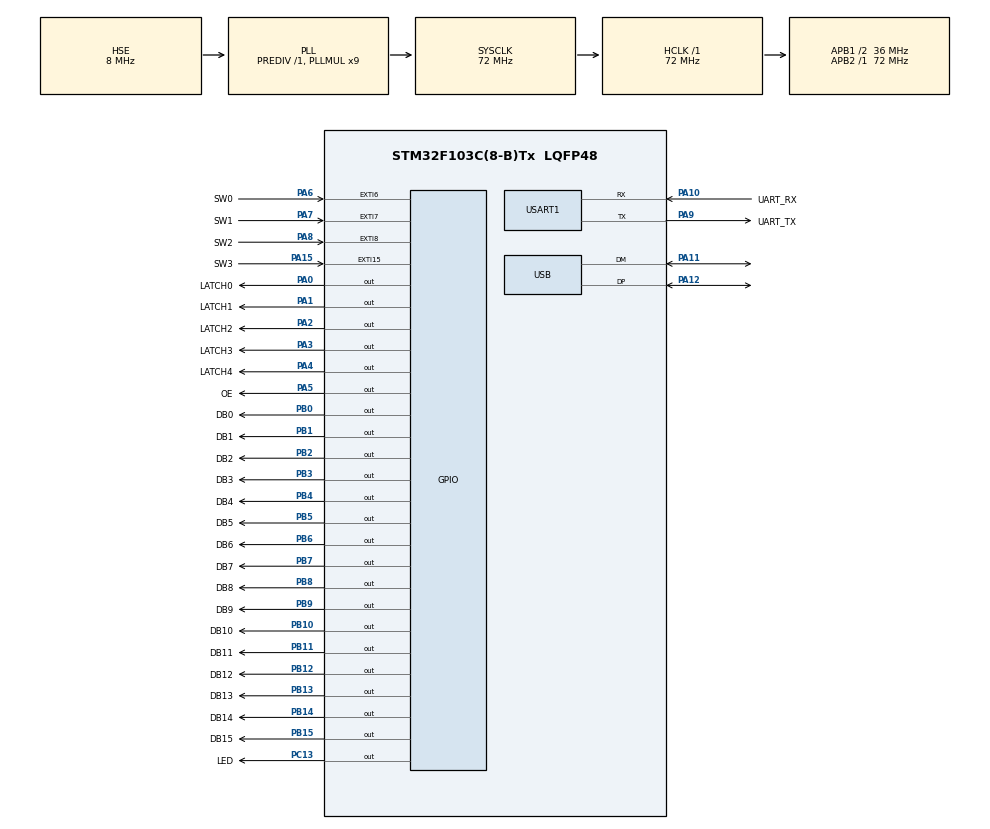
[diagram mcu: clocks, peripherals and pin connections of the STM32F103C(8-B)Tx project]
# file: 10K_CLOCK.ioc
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Mcu.Family=STM32F1
Mcu.Name=STM32F103C(8-B)Tx
Mcu.Package=LQFP48
NVIC.EXTI15_10_IRQn=true\:0\:0\:false\:true\:true\:1\:true\:true
NVIC.EXTI9_5_IRQn=true\:0\:0\:false\:true\:true\:2\:true\:true
NVIC.PVD_IRQn=true\:0\:0\:false\:false\:true\:true\:true
NVIC.PriorityGroup=NVIC_PRIORITYGROUP_4
NVIC.RCC_IRQn=true\:0\:0\:false\:false\:true\:true\:false
NVIC.RTC_IRQn=true\:0\:0\:false\:false\:true\:true\:true
NVIC.TIM2_IRQn=true\:0\:0\:false\:false\:true\:true\:true
NVIC.USART1_IRQn=true\:0\:0\:false\:true\:true\:3\:true\:true
PA0-WKUP.GPIO_Label=LATCH0
PA0-WKUP.Signal=GPIO_Output
PA1.GPIO_Label=LATCH1
PA1.Signal=GPIO_Output
PA10.GPIO_Label=UART_RX
PA10.GPIO_PuPd=GPIO_PULLUP
PA10.Mode=Asynchronous
PA10.Signal=USART1_RX
PA11.Mode=Device
PA11.Signal=USB_DM
PA12.Mode=Device
PA12.Signal=USB_DP
PA13.Mode=Serial_Wire
PA13.Signal=SYS_JTMS-SWDIO
PA14.Mode=Serial_Wire
PA14.Signal=SYS_JTCK-SWCLK
PA15.GPIO_Label=SW3
PA15.GPIO_ModeDefaultEXTI=GPIO_MODE_IT_FALLING
PA15.GPIO_PuPd=GPIO_PULLUP
PA15.Signal=GPXTI15
PA2.GPIO_Label=LATCH2
PA2.Signal=GPIO_Output
PA3.GPIO_Label=LATCH3
PA3.Signal=GPIO_Output
PA4.GPIO_Label=LATCH4
PA4.Signal=GPIO_Output
PA5.GPIO_Label=OE
PA5.Signal=GPIO_Output
PA6.GPIO_Label=SW0
PA6.GPIO_PuPd=GPIO_PULLUP
PA6.Signal=GPXTI6
PA7.GPIO_Label=SW1
PA7.GPIO_PuPd=GPIO_PULLUP
PA7.Signal=GPXTI7
PA8.GPIO_Label=SW2
PA8.GPIO_ModeDefaultEXTI=GPIO_MODE_IT_FALLING
PA8.GPIO_PuPd=GPIO_PULLUP
PA8.Signal=GPXTI8
PA9.GPIO_Label=UART_TX
PA9.Mode=Asynchronous
PA9.Signal=USART1_TX
PB0.GPIO_Label=DB0
PB0.GPIO_ModeDefaultOutputPP=GPIO_MODE_OUTPUT_PP
PB0.GPIO_PuPd=GPIO_NOPULL
PB0.Signal=GPIO_Output
PB1.GPIO_Label=DB1
PB1.GPIO_ModeDefaultOutputPP=GPIO_MODE_OUTPUT_PP
PB1.GPIO_PuPd=GPIO_NOPULL
PB1.Signal=GPIO_Output
PB10.GPIO_Label=DB10
PB10.Signal=GPIO_Output
PB11.GPIO_Label=DB11
PB11.Signal=GPIO_Output
PB12.GPIO_Label=DB12
PB12.Signal=GPIO_Output
PB13.GPIO_Label=DB13
PB13.Signal=GPIO_Output
PB14.GPIO_Label=DB14
PB14.Signal=GPIO_Output
PB15.GPIO_Label=DB15
PB15.Signal=GPIO_Output
PB2.GPIO_Label=DB2
PB2.GPIO_PuPd=GPIO_NOPULL
PB2.Signal=GPIO_Output
PB3.GPIO_Label=DB3
PB3.Signal=GPIO_Output
PB4.GPIO_Label=DB4
PB4.Signal=GPIO_Output
PB5.GPIO_Label=DB5
PB5.Signal=GPIO_Output
PB6.GPIO_Label=DB6
PB6.Signal=GPIO_Output
PB7.GPIO_Label=DB7
PB7.Signal=GPIO_Output
PB8.GPIO_Label=DB8
PB8.Signal=GPIO_Output
PB9.GPIO_Label=DB9
PB9.Signal=GPIO_Output
PC13-TAMPER-RTC.GPIO_Label=LED
PC13-TAMPER-RTC.Signal=GPIO_Output
PD0-OSC_IN.Mode=HSE-External-Oscillator
PD0-OSC_IN.Signal=RCC_OSC_IN
PD1-OSC_OUT.Mode=HSE-External-Oscillator
PD1-OSC_OUT.Signal=RCC_OSC_OUT
ProjectManager.HeapSize=0x200
ProjectManager.StackSize=0x400
ProjectManager.TargetToolchain=STM32CubeIDE
RCC.AHBFreq_Value=72000000
RCC.APB1CLKDivider=RCC_HCLK_DIV2
RCC.APB1Freq_Value=36000000
RCC.APB1TimFreq_Value=72000000
RCC.APB2Freq_Value=72000000
RCC.APB2TimFreq_Value=72000000
RCC.HCLKFreq_Value=72000000
RCC.PLLMUL=RCC_PLL_MUL9
RCC.SYSCLKFreq_VALUE=72000000
RCC.SYSCLKSource=RCC_SYSCLKSOURCE_PLLCLK
RCC.USBFreq_Value=48000000
RCC.USBPrescaler=RCC_USBCLKSOURCE_PLL_DIV1_5
RTC.Format=RTC_FORMAT_BIN
TIM2.AutoReloadPreload=TIM_AUTORELOAD_PRELOAD_ENABLE
TIM2.Period=720-1
TIM2.Prescaler=10-1
USART1.VirtualMode=VM_ASYNC
VP_RTC_No_RTC_Output.Mode=RTC_OUT_NO
VP_RTC_VS_RTC_Activate.Mode=RTC_Enabled
VP_RTC_VS_RTC_Calendar.Mode=RTC_Calendar
VP_TIM2_VS_ClockSourceINT.Mode=Internal
board=custom

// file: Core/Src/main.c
/* USER CODE BEGIN Header */
/**
  ******************************************************************************
  * @file           : main.c
  * @brief          : Main program body
  *****************************************************************************
  * @attention
  *
  * <h2><center>&copy; Copyright (c) 2022 STMicroelectronics.
  * All rights reserved.</center></h2>
  *
  * This software component is licensed by ST under BSD 3-Clause license,
  * the "License"; You may not use this file except in compliance with the
  * License. You may obtain a copy of the License at:
  *                        opensource.org/licenses/BSD-3-Clause
  *
  ******************************************************************************
  */
/* USER CODE END Header */
#include "main.h"

RTC_HandleTypeDef hrtc;

TIM_HandleTypeDef htim2;

UART_HandleTypeDef huart1;

PCD_HandleTypeDef hpcd_USB_FS;

/* USER CODE BEGIN PV */
int num[5] = {10,30,25,00,00};
uint8_t rx1_data[8];
char new_rx = 0;
uint8_t uart_Time[8];
char now_see = 0;
/* USER CODE END PV */

void SystemClock_Config(void);
static void MX_GPIO_Init(void);
static void MX_USART1_UART_Init(void);
static void MX_USB_PCD_Init(void);
static void MX_TIM2_Init(void);
static void MX_RTC_Init(void);
static void MX_NVIC_Init(void);

int main(void)
{
  /* USER CODE BEGIN 1 */
	//const int Segment[10] = {0x3, 0x9F, 0x25, 0xD, 0x99, 0x49, 0x41, 0x1F, 0x1, 0x9 };
	//int output = 0;

  /* USER CODE END 1 */

  /* MCU Configuration--------------------------------------------------------*/

  /* Reset of all peripherals, Initializes the Flash interface and the Systick. */
  HAL_Init();

  /* Configure the system clock */
  SystemClock_Config();

  /* Initialize all configured peripherals */
  MX_GPIO_Init();
  MX_USART1_UART_Init();
  MX_USB_PCD_Init();
  MX_TIM2_Init();
  MX_RTC_Init();

  /* Initialize interrupts */
  MX_NVIC_Init();
  /* USER CODE BEGIN 2 */
  HAL_TIM_Base_Start_IT(&htim2);//타이머 활성화
  HAL_GPIO_WritePin(OE_GPIO_Port, OE_Pin, RESET);//LOW출력
  HAL_GPIO_WritePin(LATCH0_GPIO_Port, LATCH0_Pin, RESET);//HIGH 출력
  HAL_GPIO_WritePin(LATCH0_GPIO_Port, LATCH1_Pin, RESET);
  HAL_GPIO_WritePin(LATCH0_GPIO_Port, LATCH2_Pin, RESET);
  HAL_GPIO_WritePin(LATCH0_GPIO_Port, LATCH3_Pin, RESET);
  HAL_GPIO_WritePin(LATCH0_GPIO_Port, LATCH4_Pin, RESET);

  HAL_UART_Receive_IT(&huart1, &rx1_data, 8);
  /* USER CODE END 2 */

  /* Infinite loop */
  /* USER CODE BEGIN WHILE */

  while (1)
  {
	  if (rx1_data[7] == 'E'){
		  for(int i  = 0; i < 8; i++){
			  uart_Time[i] = rx1_data[i]-48;
			  rx1_data[i] = 0;
		  }

		  num[0] = uart_Time[1]*10+uart_Time[2];
		  num[1] = uart_Time[3]*10+uart_Time[4];
		  num[2] = uart_Time[5]*10+uart_Time[6];
		  num[4] = 0;
		  num[5] = 0;

	  }

	  if (num[0] > 23){
		  num[0] = 0;
	  }

	  if (num[1] == 60){
		  num[1] = 0;
		  num[0]++;
	  }
	  if (num[2] == 60){
		  num[2] = 0;
		  num[1]++;
	  }
	  if(num[4] == 100){

		  num[4] = 0;
		  num[3]++;
	  }
	  if(num[3] == 100){
		  num[3] = 0;
		  num[2]++;
	  }

	  int Segment[10] = { 0xC0, 0xF9, 0xA4 ,0xB0, 0x99, 0x92, 0x82, 0xD8, 0x80, 0x90}; //16진수 -> segmen 정보
	  int testPCB_Latch_Adrr[5] = {LATCH0_Pin, LATCH1_Pin, LATCH2_Pin, LATCH3_Pin, LATCH4_Pin}; //테스트 pcb 래치 핀 주소

	  for(int i = 0; i < 5; i++){
		  HAL_GPIO_WritePin(GPIOB, Segment[num[i]/10]+(Segment[num[i]%10]<<8), SET);

		  HAL_GPIO_WritePin(GPIOB, ~(Segment[num[i]/10]+(Segment[num[i]%10]<<8)), RESET);
		  HAL_GPIO_WritePin(GPIOB, ~(Segment[num[i]/10]+(Segment[num[i]%10]<<8)), RESET);

		  HAL_GPIO_WritePin(OE_GPIO_Port, testPCB_Latch_Adrr[i], SET);
		  HAL_GPIO_WritePin(OE_GPIO_Port, testPCB_Latch_Adrr[i], SET);

		  HAL_GPIO_WritePin(OE_GPIO_Port, testPCB_Latch_Adrr[i], RESET);
		  HAL_GPIO_WritePin(OE_GPIO_Port, testPCB_Latch_Adrr[i], RESET);

	  }

    /* USER CODE END WHILE */

  }
}

void SystemClock_Config(void)
{
  RCC_OscInitTypeDef RCC_OscInitStruct = {0};
  RCC_ClkInitTypeDef RCC_ClkInitStruct = {0};
  RCC_PeriphCLKInitTypeDef PeriphClkInit = {0};

  /** Initializes the RCC Oscillators according to the specified parameters
  * in the RCC_OscInitTypeDef structure.
  */
  RCC_OscInitStruct.OscillatorType = RCC_OSCILLATORTYPE_LSI|RCC_OSCILLATORTYPE_HSE;
  RCC_OscInitStruct.HSEState = RCC_HSE_ON;
  RCC_OscInitStruct.HSEPredivValue = RCC_HSE_PREDIV_DIV1;
  RCC_OscInitStruct.HSIState = RCC_HSI_ON;
  RCC_OscInitStruct.LSIState = RCC_LSI_ON;
  RCC_OscInitStruct.PLL.PLLState = RCC_PLL_ON;
  RCC_OscInitStruct.PLL.PLLSource = RCC_PLLSOURCE_HSE;
  RCC_OscInitStruct.PLL.PLLMUL = RCC_PLL_MUL9;
  if (HAL_RCC_OscConfig(&RCC_OscInitStruct) != HAL_OK)
  {
    Error_Handler();
  }
  /** Initializes the CPU, AHB and APB buses clocks
  */
  RCC_ClkInitStruct.ClockType = RCC_CLOCKTYPE_HCLK|RCC_CLOCKTYPE_SYSCLK
                              |RCC_CLOCKTYPE_PCLK1|RCC_CLOCKTYPE_PCLK2;
  RCC_ClkInitStruct.SYSCLKSource = RCC_SYSCLKSOURCE_PLLCLK;
  RCC_ClkInitStruct.AHBCLKDivider = RCC_SYSCLK_DIV1;
  RCC_ClkInitStruct.APB1CLKDivider = RCC_HCLK_DIV2;
  RCC_ClkInitStruct.APB2CLKDivider = RCC_HCLK_DIV1;

  if (HAL_RCC_ClockConfig(&RCC_ClkInitStruct, FLASH_LATENCY_2) != HAL_OK)
  {
    Error_Handler();
  }
  PeriphClkInit.PeriphClockSelection = RCC_PERIPHCLK_RTC|RCC_PERIPHCLK_USB;
  PeriphClkInit.RTCClockSelection = RCC_RTCCLKSOURCE_LSI;
  PeriphClkInit.UsbClockSelection = RCC_USBCLKSOURCE_PLL_DIV1_5;
  if (HAL_RCCEx_PeriphCLKConfig(&PeriphClkInit) != HAL_OK)
  {
    Error_Handler();
  }
}

/**
  * @brief NVIC Configuration.
  * @retval None
  */
static void MX_NVIC_Init(void)
{
  /* EXTI15_10_IRQn interrupt configuration */
  HAL_NVIC_SetPriority(EXTI15_10_IRQn, 0, 0);
  HAL_NVIC_EnableIRQ(EXTI15_10_IRQn);
  /* EXTI9_5_IRQn interrupt configuration */
  HAL_NVIC_SetPriority(EXTI9_5_IRQn, 0, 0);
  HAL_NVIC_EnableIRQ(EXTI9_5_IRQn);
  /* USART1_IRQn interrupt configuration */
  HAL_NVIC_SetPriority(USART1_IRQn, 0, 0);
  HAL_NVIC_EnableIRQ(USART1_IRQn);
}

static void MX_RTC_Init(void)
{

  RTC_TimeTypeDef sTime = {0};
  RTC_DateTypeDef DateToUpdate = {0};

  /** Initialize RTC Only
  */
  hrtc.Instance = RTC;
  hrtc.Init.AsynchPrediv = RTC_AUTO_1_SECOND;
  hrtc.Init.OutPut = RTC_OUTPUTSOURCE_NONE;
  if (HAL_RTC_Init(&hrtc) != HAL_OK)
  {
    Error_Handler();
  }

  /** Initialize RTC and set the Time and Date
  */
  sTime.Hours = 0;
  sTime.Minutes = 0;
  sTime.Seconds = 0;

  if (HAL_RTC_SetTime(&hrtc, &sTime, RTC_FORMAT_BIN) != HAL_OK)
  {
    Error_Handler();
  }
  DateToUpdate.WeekDay = RTC_WEEKDAY_MONDAY;
  DateToUpdate.Month = RTC_MONTH_JANUARY;
  DateToUpdate.Date = 1;
  DateToUpdate.Year = 0;

  if (HAL_RTC_SetDate(&hrtc, &DateToUpdate, RTC_FORMAT_BIN) != HAL_OK)
  {
    Error_Handler();
  }

}

static void MX_TIM2_Init(void)
{

  TIM_ClockConfigTypeDef sClockSourceConfig = {0};
  TIM_MasterConfigTypeDef sMasterConfig = {0};

  htim2.Instance = TIM2;
  htim2.Init.Prescaler = 10-1;
  htim2.Init.CounterMode = TIM_COUNTERMODE_UP;
  htim2.Init.Period = 720-1;
  htim2.Init.ClockDivision = TIM_CLOCKDIVISION_DIV1;
  htim2.Init.AutoReloadPreload = TIM_AUTORELOAD_PRELOAD_ENABLE;
  if (HAL_TIM_Base_Init(&htim2) != HAL_OK)
  {
    Error_Handler();
  }
  sClockSourceConfig.ClockSource = TIM_CLOCKSOURCE_INTERNAL;
  if (HAL_TIM_ConfigClockSource(&htim2, &sClockSourceConfig) != HAL_OK)
  {
    Error_Handler();
  }
  sMasterConfig.MasterOutputTrigger = TIM_TRGO_RESET;
  sMasterConfig.MasterSlaveMode = TIM_MASTERSLAVEMODE_DISABLE;
  if (HAL_TIMEx_MasterConfigSynchronization(&htim2, &sMasterConfig) != HAL_OK)
  {
    Error_Handler();
  }

}

static void MX_USART1_UART_Init(void)
{

  huart1.Instance = USART1;
  huart1.Init.BaudRate = 115200;
  huart1.Init.WordLength = UART_WORDLENGTH_8B;
  huart1.Init.StopBits = UART_STOPBITS_1;
  huart1.Init.Parity = UART_PARITY_NONE;
  huart1.Init.Mode = UART_MODE_TX_RX;
  huart1.Init.HwFlowCtl = UART_HWCONTROL_NONE;
  huart1.Init.OverSampling = UART_OVERSAMPLING_16;
  if (HAL_UART_Init(&huart1) != HAL_OK)
  {
    Error_Handler();
  }

}

static void MX_USB_PCD_Init(void)
{

  hpcd_USB_FS.Instance = USB;
  hpcd_USB_FS.Init.dev_endpoints = 8;
  hpcd_USB_FS.Init.speed = PCD_SPEED_FULL;
  hpcd_USB_FS.Init.low_power_enable = DISABLE;
  hpcd_USB_FS.Init.lpm_enable = DISABLE;
  hpcd_USB_FS.Init.battery_charging_enable = DISABLE;
  if (HAL_PCD_Init(&hpcd_USB_FS) != HAL_OK)
  {
    Error_Handler();
  }

}

static void MX_GPIO_Init(void)
{
  GPIO_InitTypeDef GPIO_InitStruct = {0};

  /* GPIO Ports Clock Enable */
  __HAL_RCC_GPIOC_CLK_ENABLE();
  __HAL_RCC_GPIOD_CLK_ENABLE();
  __HAL_RCC_GPIOA_CLK_ENABLE();
  __HAL_RCC_GPIOB_CLK_ENABLE();

  /*Configure GPIO pin Output Level */
  HAL_GPIO_WritePin(LED_GPIO_Port, LED_Pin, GPIO_PIN_RESET);

  /*Configure GPIO pin Output Level */
  HAL_GPIO_WritePin(GPIOA, LATCH0_Pin|LATCH1_Pin|LATCH2_Pin|LATCH3_Pin
                          |LATCH4_Pin|OE_Pin, GPIO_PIN_RESET);

  /*Configure GPIO pin Output Level */
  HAL_GPIO_WritePin(GPIOB, DB0_Pin|DB1_Pin|DB2_Pin|DB10_Pin
                          |DB11_Pin|DB12_Pin|DB13_Pin|DB14_Pin
                          |DB15_Pin|DB3_Pin|DB4_Pin|DB5_Pin
                          |DB6_Pin|DB7_Pin|DB8_Pin|DB9_Pin, GPIO_PIN_RESET);

  /*Configure GPIO pin : LED_Pin */
  GPIO_InitStruct.Pin = LED_Pin;
  GPIO_InitStruct.Mode = GPIO_MODE_OUTPUT_PP;
  GPIO_InitStruct.Pull = GPIO_NOPULL;
  GPIO_InitStruct.Speed = GPIO_SPEED_FREQ_LOW;
  HAL_GPIO_Init(LED_GPIO_Port, &GPIO_InitStruct);

  /*Configure GPIO pins : LATCH0_Pin LATCH1_Pin LATCH2_Pin LATCH3_Pin
                           LATCH4_Pin OE_Pin */
  GPIO_InitStruct.Pin = LATCH0_Pin|LATCH1_Pin|LATCH2_Pin|LATCH3_Pin
                          |LATCH4_Pin|OE_Pin;
  GPIO_InitStruct.Mode = GPIO_MODE_OUTPUT_PP;
  GPIO_InitStruct.Pull = GPIO_NOPULL;
  GPIO_InitStruct.Speed = GPIO_SPEED_FREQ_LOW;
  HAL_GPIO_Init(GPIOA, &GPIO_InitStruct);

  /*Configure GPIO pins : SW0_Pin SW1_Pin */
  GPIO_InitStruct.Pin = SW0_Pin|SW1_Pin;
  GPIO_InitStruct.Mode = GPIO_MODE_IT_RISING;
  GPIO_InitStruct.Pull = GPIO_PULLUP;
  HAL_GPIO_Init(GPIOA, &GPIO_InitStruct);

  /*Configure GPIO pins : DB0_Pin DB1_Pin DB2_Pin DB10_Pin
                           DB11_Pin DB12_Pin DB13_Pin DB14_Pin
                           DB15_Pin DB3_Pin DB4_Pin DB5_Pin
                           DB6_Pin DB7_Pin DB8_Pin DB9_Pin */
  GPIO_InitStruct.Pin = DB0_Pin|DB1_Pin|DB2_Pin|DB10_Pin
                          |DB11_Pin|DB12_Pin|DB13_Pin|DB14_Pin
                          |DB15_Pin|DB3_Pin|DB4_Pin|DB5_Pin
                          |DB6_Pin|DB7_Pin|DB8_Pin|DB9_Pin;
  GPIO_InitStruct.Mode = GPIO_MODE_OUTPUT_PP;
  GPIO_InitStruct.Pull = GPIO_NOPULL;
  GPIO_InitStruct.Speed = GPIO_SPEED_FREQ_LOW;
  HAL_GPIO_Init(GPIOB, &GPIO_InitStruct);

  /*Configure GPIO pins : SW2_Pin SW3_Pin */
  GPIO_InitStruct.Pin = SW2_Pin|SW3_Pin;
  GPIO_InitStruct.Mode = GPIO_MODE_IT_FALLING;
  GPIO_InitStruct.Pull = GPIO_PULLUP;
  HAL_GPIO_Init(GPIOA, &GPIO_InitStruct);

}

/* USER CODE BEGIN 4 */
void HAL_TIM_PeriodElapsedCallback(TIM_HandleTypeDef *htim)
{
	if(htim -> Instance == TIM2){
		num[4]++;
	}

}
void HAL_GPIO_EXTI_Callback(uint16_t GPIO_Pin)
{

	if (GPIO_Pin == GPIO_PIN_15){
		num[0]++;

	}

	if (GPIO_Pin == GPIO_PIN_8){
			num[0]--;
	}
	if (GPIO_Pin == GPIO_PIN_7){
				num[1]++;
	}

	if (GPIO_Pin == GPIO_PIN_6){
				num[1]--;
	}

	UNUSED(GPIO_Pin);

}

void HAL_UART_RxHalfCpltCallback(UART_HandleTypeDef *huart)
{
	if(huart -> Instance == USART3){

		HAL_UART_Receive_IT(&huart1, &rx1_data, 8);

	}
}

/* USER CODE END 4 */

void Error_Handler(void)
{
  __disable_irq();
  while (1)
  {
  }
}

/************************ (C) COPYRIGHT STMicroelectronics *****END OF FILE****/
